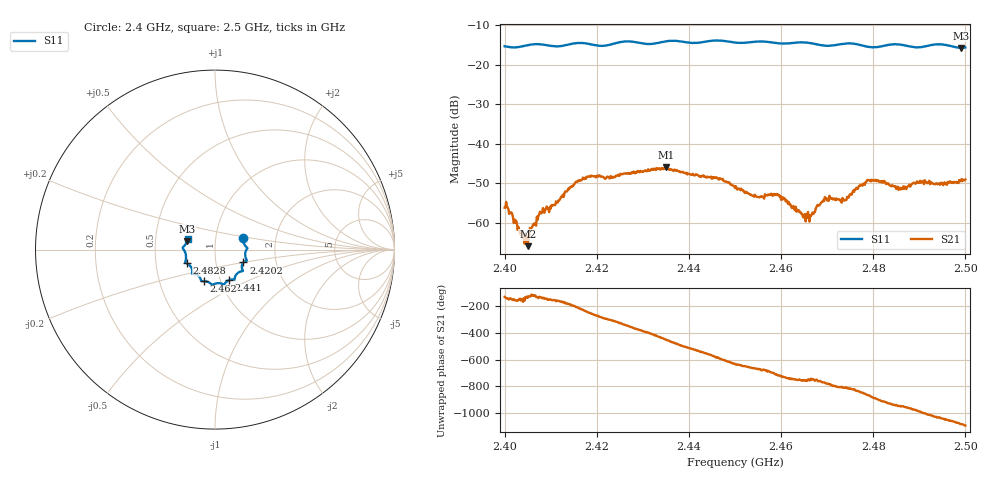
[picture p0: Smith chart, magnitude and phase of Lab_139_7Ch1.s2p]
# Hz S RI R 50
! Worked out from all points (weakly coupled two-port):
!   601 points, 2.4 GHz to 2.5 GHz, reference 50 ohm
!   highest |S21| = -45.94 dB at 2.435 GHz (marker M1); lowest = -65.9 dB at 2.405 GHz (marker M2)
!   lowest |S11| = -15.8 dB at 2.499 GHz (marker M3), VSWR 1.39, Z = 36.4 + j3.5 ohm
!   |S11| at or under -10 dB: start of sweep to end of sweep
!   S12 and S22 are empty: the file has one direction only
!   S11 on the Smith chart (normalised r, x): 2.4 GHz: 1.36, +0.18; 2.4202 GHz: 1.36, -0.20; 2.441 GHz: 1.10, -0.39; 2.462 GHz: 0.84, -0.30; 2.4828 GHz: 0.72, -0.11; 2.5 GHz: 0.73, +0.09
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2.4e9  0.1584 0.0623  -0.000971 -0.00122  0 0  0 0
2.403833e9  0.1687 0.0209  -0.000602 -0.000308  0 0  0 0
2.405e9  0.1751 0.0141  -0.000366 -0.000354  0 0  0 0
2.407833e9  0.1799 0.00709  -0.000899 -0.000984  0 0  0 0
2.416667e9  0.1773 -0.0606  -0.00258 0.00231  0 0  0 0
2.420167e9  0.1583 -0.0713  8.89e-05 0.00396  0 0  0 0
2.433333e9  0.1115 -0.1509  0.00189 -0.00439  0 0  0 0
2.435e9  0.1096 -0.1631  0.000216 -0.00504  0 0  0 0
2.441e9  0.0783 -0.17  -0.00382 -0.00121  0 0  0 0
2.45e9  0.0283 -0.1875  0.000209 0.00275  0 0  0 0
2.455e9  -0.0125 -0.1951  0.00139 0.00162  0 0  0 0
2.459333e9  -0.0354 -0.1821  0.00228 5.84e-05  0 0  0 0
2.462e9  -0.0607 -0.1757  0.00161 -0.000617  0 0  0 0
2.465167e9  -0.0767 -0.174  0.00105 -0.000752  0 0  0 0
2.466667e9  -0.0789 -0.168  0.00111 -0.000657  0 0  0 0
2.469333e9  -0.09 -0.1482  0.00121 -0.00145  0 0  0 0
2.473667e9  -0.1241 -0.135  -3.55e-06 -0.00192  0 0  0 0
2.478833e9  -0.1292 -0.1066  -0.00292 -0.00191  0 0  0 0
2.482833e9  -0.1575 -0.0766  -0.00291 0.00104  0 0  0 0
2.483333e9  -0.1607 -0.0751  -0.00274 0.00147  0 0  0 0
2.499e9  -0.1555 0.0469  0.00337 -0.000226  0 0  0 0
2.5e9  -0.1523 0.0611  0.00344 -0.000848  0 0  0 0
